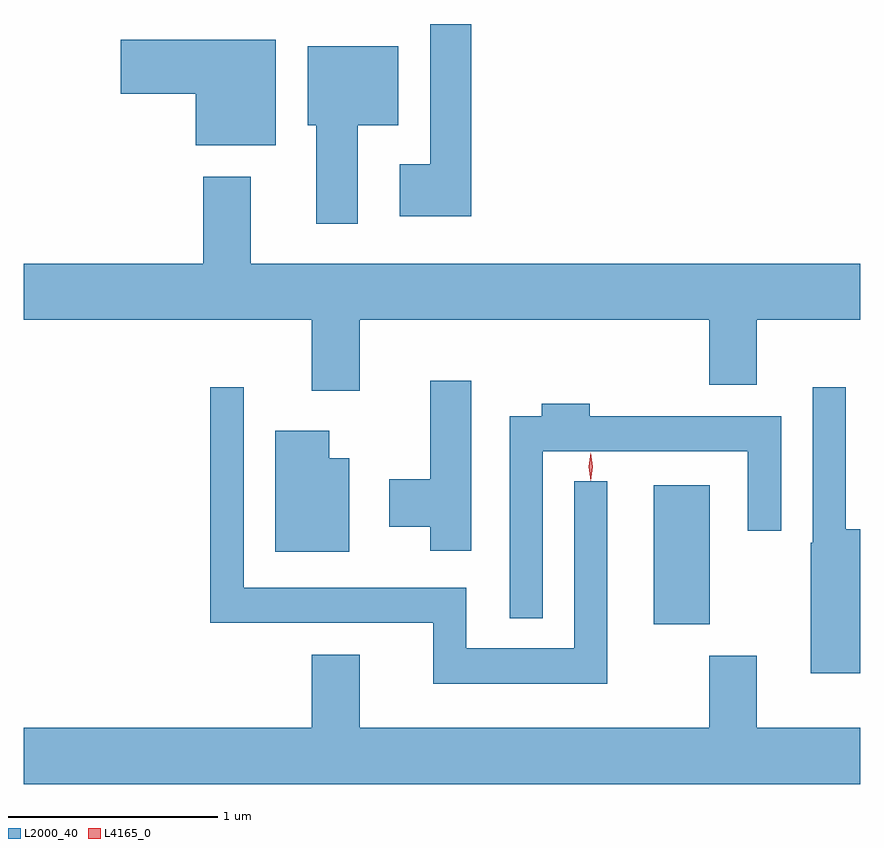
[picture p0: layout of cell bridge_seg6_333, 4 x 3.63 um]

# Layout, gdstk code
import gdstk
lib = gdstk.Library(unit=1e-6, precision=1e-09)
def R(c, l, rs):  # rectangles x0, y0, x1, y1
    for r in rs: c.add(gdstk.rectangle(r[:2], r[2:], *l))
def P(c, l, *ps):  # polygons
    for p in ps: c.add(gdstk.Polygon(p, *l))
L2000_40 = (2000, 40)
L4165_0 = (4165, 0)

bridge_seg6_333 = lib.new_cell('bridge_seg6_333')
R(bridge_seg6_333, L2000_40, [(1298.246,1555.241,1298.514,1555.904)])
P(bridge_seg6_333, L2000_40, [(1297.374,1558.11),(1297.176,1558.11),(1297.176,1557.439),(1297.031,1557.439),(1297.031,1557.191),(1297.374,1557.191)],
  [(1296.439,1558.034),(1295.696,1558.034),(1295.696,1557.776),(1296.056,1557.776),(1296.056,1557.531),(1296.439,1557.531)],
  [(1296.829,1557.626),(1297.024,1557.626),(1297.024,1558.004),(1296.591,1558.004),(1296.591,1557.626),(1296.631,1557.626),(1296.631,1557.156),(1296.829,1557.156)],
  [(1296.839,1556.696),(1298.511,1556.696),(1298.511,1556.386),(1298.739,1556.386),(1298.739,1556.696),(1299.233,1556.696),(1299.233,1556.964),(1296.319,1556.964),(1296.319,1557.379),(1296.091,1557.379),(1296.091,1556.964),(1295.233,1556.964),(1295.233,1556.696),(1296.611,1556.696),(1296.611,1556.356),(1296.839,1556.356)],
  [(1297.374,1556.404),(1297.176,1556.404),(1297.176,1555.934),(1296.981,1555.934),(1296.981,1555.706),(1297.176,1555.706),(1297.176,1555.591),(1297.374,1555.591)],
  [(1298.024,1555.923),(1297.866,1555.923),(1297.866,1555.124),(1297.349,1555.124),(1297.349,1555.414),(1296.284,1555.414),(1296.284,1556.373),(1296.126,1556.373),(1296.126,1555.246),(1297.191,1555.246),(1297.191,1554.956),(1298.024,1554.956)],
  [(1299.233,1555.694),(1299.164,1555.694),(1299.164,1556.373),(1299.006,1556.373),(1299.006,1555.63),(1298.996,1555.63),(1298.996,1555.006),(1299.233,1555.006)],
  [(1297.714,1556.066),(1298.696,1556.066),(1298.696,1555.688),(1298.854,1555.688),(1298.854,1556.234),(1297.939,1556.234),(1297.939,1556.294),(1297.711,1556.294),(1297.711,1556.234),(1297.556,1556.234),(1297.556,1555.268),(1297.714,1555.268)],
  [(1296.789,1556.034),(1296.694,1556.034),(1296.694,1556.164),(1296.436,1556.164),(1296.436,1555.586),(1296.789,1555.586)],
  [(1299.233,1554.744),(1298.739,1554.744),(1298.739,1555.089),(1298.511,1555.089),(1298.511,1554.744),(1296.839,1554.744),(1296.839,1555.094),(1296.611,1555.094),(1296.611,1554.744),(1295.233,1554.744),(1295.233,1554.476),(1299.233,1554.476)])
P(bridge_seg6_333, L4165_0, [(1297.944,1555.927),(1297.934,1555.994),(1297.944,1556.06),(1297.944,1556.06),(1297.945,1556.06),(1297.954,1555.994),(1297.945,1555.927),(1297.945,1555.927)])

lib.write_gds('bridge_seg6_333.gds')
